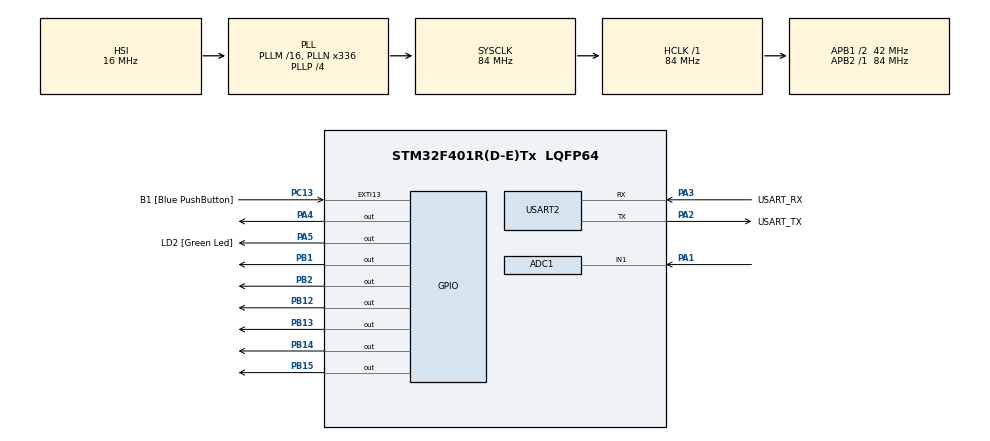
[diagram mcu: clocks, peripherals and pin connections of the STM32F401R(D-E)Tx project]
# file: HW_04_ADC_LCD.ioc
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ADC1.Channel-0\#ChannelRegularConversion=ADC_CHANNEL_1
ADC1.ExternalTrigConv=ADC_EXTERNALTRIGCONV_T2_TRGO
ADC1.InjNumberOfConversion=0
ADC1.NbrOfConversionFlag=1
ADC1.Rank-0\#ChannelRegularConversion=1
ADC1.SamplingTime-0\#ChannelRegularConversion=ADC_SAMPLETIME_480CYCLES
ADC1.master=1
Mcu.Family=STM32F4
Mcu.Name=STM32F401R(D-E)Tx
Mcu.Package=LQFP64
NVIC.ADC_IRQn=true\:0\:0\:false\:false\:true\:true\:true\:true
NVIC.PriorityGroup=NVIC_PRIORITYGROUP_0
PA1.Signal=SharedAnalog_PA1
PA13.GPIO_Label=TMS
PA13.Mode=Serial_Wire
PA13.Signal=SYS_JTMS-SWDIO
PA14.GPIO_Label=TCK
PA14.Mode=Serial_Wire
PA14.Signal=SYS_JTCK-SWCLK
PA2.GPIO_Label=USART_TX
PA2.GPIO_Mode=GPIO_MODE_AF_PP
PA2.GPIO_PuPd=GPIO_NOPULL
PA2.GPIO_Speed=GPIO_SPEED_FREQ_LOW
PA2.Mode=Asynchronous
PA2.Signal=USART2_TX
PA3.GPIO_Label=USART_RX
PA3.GPIO_Mode=GPIO_MODE_AF_PP
PA3.GPIO_PuPd=GPIO_NOPULL
PA3.GPIO_Speed=GPIO_SPEED_FREQ_LOW
PA3.Mode=Asynchronous
PA3.Signal=USART2_RX
PA4.Signal=GPIO_Output
PA5.GPIO_Label=LD2 [Green Led]
PA5.GPIO_Mode=GPIO_MODE_OUTPUT_PP
PA5.GPIO_PuPd=GPIO_NOPULL
PA5.GPIO_Speed=GPIO_SPEED_FREQ_LOW
PA5.Signal=GPIO_Output
PB1.Signal=GPIO_Output
PB12.Signal=GPIO_Output
PB13.Signal=GPIO_Output
PB14.Signal=GPIO_Output
PB15.Signal=GPIO_Output
PB2.Signal=GPIO_Output
PB3.GPIO_Label=SWO
PB3.Signal=SYS_JTDO-SWO
PC13-ANTI_TAMP.GPIO_Label=B1 [Blue PushButton]
PC13-ANTI_TAMP.GPIO_ModeDefaultEXTI=GPIO_MODE_IT_FALLING
PC13-ANTI_TAMP.GPIO_PuPd=GPIO_NOPULL
PC13-ANTI_TAMP.Signal=GPXTI13
PC14-OSC32_IN.Mode=LSE-External-Oscillator
PC14-OSC32_IN.Signal=RCC_OSC32_IN
PC15-OSC32_OUT.Mode=LSE-External-Oscillator
PC15-OSC32_OUT.Signal=RCC_OSC32_OUT
PH0\ -\ OSC_IN.Mode=HSE-External-Clock-Source
PH0\ -\ OSC_IN.Signal=RCC_OSC_IN
PH1\ -\ OSC_OUT.Mode=HSE-External-Clock-Source
PH1\ -\ OSC_OUT.Signal=RCC_OSC_OUT
ProjectManager.HeapSize=0x200
ProjectManager.StackSize=0x400
ProjectManager.TargetToolchain=STM32CubeIDE
RCC.48MHZClocksFreq_Value=48000000
RCC.AHBFreq_Value=84000000
RCC.APB1CLKDivider=RCC_HCLK_DIV2
RCC.APB1Freq_Value=42000000
RCC.APB1TimFreq_Value=84000000
RCC.APB2Freq_Value=84000000
RCC.APB2TimFreq_Value=84000000
RCC.CortexFreq_Value=84000000
RCC.HCLKFreq_Value=84000000
RCC.HSE_VALUE=8000000
RCC.HSI_VALUE=16000000
RCC.PLLN=336
RCC.PLLP=RCC_PLLP_DIV4
RCC.PLLQ=7
RCC.SYSCLKFreq_VALUE=84000000
RCC.SYSCLKSource=RCC_SYSCLKSOURCE_PLLCLK
RCC.VCOOutputFreq_Value=336000000
SH.SharedAnalog_PA1.0=GPIO_Analog
SH.SharedAnalog_PA1.1=ADC1_IN1,IN1
TIM2.Period=84000-1
TIM2.Prescaler=1000-1
TIM2.TIM_MasterOutputTrigger=TIM_TRGO_UPDATE
USART2.VirtualMode=VM_ASYNC
VP_TIM2_VS_ClockSourceINT.Mode=Internal
board=NUCLEO-F401RE

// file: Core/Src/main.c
/* USER CODE BEGIN Header */
/**
 ******************************************************************************
 * @file           : main.c
 * @brief          : Main program body
 ******************************************************************************
 * @attention
 *
 * Copyright (c) 2022 STMicroelectronics.
 * All rights reserved.
 *
 * This software is licensed under terms that can be found in the LICENSE file
 * in the root directory of this software component.
 * If no LICENSE file comes with this software, it is provided AS-IS.
 *
 ******************************************************************************
 */
/* USER CODE END Header */
#include "main.h"

/* USER CODE BEGIN Includes */
#include "PMDB16_LCD.h"
/* USER CODE END Includes */

/* USER CODE BEGIN PTD */
int completed = 0; // used to signal completed ADC conversion
/* USER CODE END PTD */

ADC_HandleTypeDef hadc1;

TIM_HandleTypeDef htim2;

UART_HandleTypeDef huart2;

void SystemClock_Config(void);
static void MX_GPIO_Init(void);
static void MX_USART2_UART_Init(void);
static void MX_ADC1_Init(void);
static void MX_TIM2_Init(void);

/* USER CODE BEGIN 0 */

// conversion from ADC callback
void HAL_ADC_ConvCpltCallback(ADC_HandleTypeDef *hadc) {
	HAL_TIM_Base_Stop(&htim2);
	if (completed == 0)
		completed = 1;
	HAL_TIM_Base_Start(&htim2);
}
/* USER CODE END 0 */

int main(void) {

	/* MCU Configuration--------------------------------------------------------*/

	/* Reset of all peripherals, Initializes the Flash interface and the Systick. */
	HAL_Init();

	/* USER CODE BEGIN Init */
	char string[64];
	/* USER CODE END Init */

	/* Configure the system clock */
	SystemClock_Config();

	/* Initialize all configured peripherals */
	MX_GPIO_Init();
	MX_USART2_UART_Init();
	MX_ADC1_Init();
	MX_TIM2_Init();
	/* USER CODE BEGIN 2 */

	lcd_initialize();
	lcd_backlight_ON();
	HAL_TIM_Base_Start(&htim2); // starts timer 2 for signaling rate of conversion
	HAL_ADC_Start_IT(&hadc1); // ADC conversion with interrupt routine

	/* USER CODE END 2 */

	/* Infinite loop */
	/* USER CODE BEGIN WHILE */
	while (1) {
		// only when the ADC conversion is completed
		if (completed == 1) {
			int conversion = HAL_ADC_GetValue(&hadc1);
			float voltage = conversion * 3.3 / 4096.0;
			snprintf(string, sizeof(string), "Voltage = %.3fV\n", voltage);

			// prints to LCD the progress bar (from 0 to 80)
			lcd_clear();
			lcd_println(string, 0);
			lcd_drawBar((int) conversion * 80.0 / 4096.0);

			completed = 0;
		}
		/* USER CODE END WHILE */

	}
}

void SystemClock_Config(void) {
	RCC_OscInitTypeDef RCC_OscInitStruct = { 0 };
	RCC_ClkInitTypeDef RCC_ClkInitStruct = { 0 };

	/** Configure the main internal regulator output voltage
	 */
	__HAL_RCC_PWR_CLK_ENABLE();
	__HAL_PWR_VOLTAGESCALING_CONFIG(PWR_REGULATOR_VOLTAGE_SCALE2);

	/** Initializes the RCC Oscillators according to the specified parameters
	 * in the RCC_OscInitTypeDef structure.
	 */
	RCC_OscInitStruct.OscillatorType = RCC_OSCILLATORTYPE_HSI;
	RCC_OscInitStruct.HSIState = RCC_HSI_ON;
	RCC_OscInitStruct.HSICalibrationValue = RCC_HSICALIBRATION_DEFAULT;
	RCC_OscInitStruct.PLL.PLLState = RCC_PLL_ON;
	RCC_OscInitStruct.PLL.PLLSource = RCC_PLLSOURCE_HSI;
	RCC_OscInitStruct.PLL.PLLM = 16;
	RCC_OscInitStruct.PLL.PLLN = 336;
	RCC_OscInitStruct.PLL.PLLP = RCC_PLLP_DIV4;
	RCC_OscInitStruct.PLL.PLLQ = 7;
	if (HAL_RCC_OscConfig(&RCC_OscInitStruct) != HAL_OK) {
		Error_Handler();
	}

	/** Initializes the CPU, AHB and APB buses clocks
	 */
	RCC_ClkInitStruct.ClockType = RCC_CLOCKTYPE_HCLK | RCC_CLOCKTYPE_SYSCLK | RCC_CLOCKTYPE_PCLK1 | RCC_CLOCKTYPE_PCLK2;
	RCC_ClkInitStruct.SYSCLKSource = RCC_SYSCLKSOURCE_PLLCLK;
	RCC_ClkInitStruct.AHBCLKDivider = RCC_SYSCLK_DIV1;
	RCC_ClkInitStruct.APB1CLKDivider = RCC_HCLK_DIV2;
	RCC_ClkInitStruct.APB2CLKDivider = RCC_HCLK_DIV1;

	if (HAL_RCC_ClockConfig(&RCC_ClkInitStruct, FLASH_LATENCY_2) != HAL_OK) {
		Error_Handler();
	}
}

static void MX_ADC1_Init(void) {

	ADC_ChannelConfTypeDef sConfig = { 0 };

	/** Configure the global features of the ADC (Clock, Resolution, Data Alignment and number of conversion)
	 */
	hadc1.Instance = ADC1;
	hadc1.Init.ClockPrescaler = ADC_CLOCK_SYNC_PCLK_DIV4;
	hadc1.Init.Resolution = ADC_RESOLUTION_12B;
	hadc1.Init.ScanConvMode = DISABLE;
	hadc1.Init.ContinuousConvMode = DISABLE;
	hadc1.Init.DiscontinuousConvMode = DISABLE;
	hadc1.Init.ExternalTrigConvEdge = ADC_EXTERNALTRIGCONVEDGE_RISING;
	hadc1.Init.ExternalTrigConv = ADC_EXTERNALTRIGCONV_T2_TRGO;
	hadc1.Init.DataAlign = ADC_DATAALIGN_RIGHT;
	hadc1.Init.NbrOfConversion = 1;
	hadc1.Init.DMAContinuousRequests = DISABLE;
	hadc1.Init.EOCSelection = ADC_EOC_SINGLE_CONV;
	if (HAL_ADC_Init(&hadc1) != HAL_OK) {
		Error_Handler();
	}

	/** Configure for the selected ADC regular channel its corresponding rank in the sequencer and its sample time.
	 */
	sConfig.Channel = ADC_CHANNEL_1;
	sConfig.Rank = 1;
	sConfig.SamplingTime = ADC_SAMPLETIME_480CYCLES;
	if (HAL_ADC_ConfigChannel(&hadc1, &sConfig) != HAL_OK) {
		Error_Handler();
	}

}

static void MX_TIM2_Init(void) {

	TIM_ClockConfigTypeDef sClockSourceConfig = { 0 };
	TIM_MasterConfigTypeDef sMasterConfig = { 0 };

	htim2.Instance = TIM2;
	htim2.Init.Prescaler = 1000 - 1;
	htim2.Init.CounterMode = TIM_COUNTERMODE_UP;
	htim2.Init.Period = 84000 - 1;
	htim2.Init.ClockDivision = TIM_CLOCKDIVISION_DIV1;
	htim2.Init.AutoReloadPreload = TIM_AUTORELOAD_PRELOAD_DISABLE;
	if (HAL_TIM_Base_Init(&htim2) != HAL_OK) {
		Error_Handler();
	}
	sClockSourceConfig.ClockSource = TIM_CLOCKSOURCE_INTERNAL;
	if (HAL_TIM_ConfigClockSource(&htim2, &sClockSourceConfig) != HAL_OK) {
		Error_Handler();
	}
	sMasterConfig.MasterOutputTrigger = TIM_TRGO_UPDATE;
	sMasterConfig.MasterSlaveMode = TIM_MASTERSLAVEMODE_DISABLE;
	if (HAL_TIMEx_MasterConfigSynchronization(&htim2, &sMasterConfig) != HAL_OK) {
		Error_Handler();
	}

}

static void MX_USART2_UART_Init(void) {

	huart2.Instance = USART2;
	huart2.Init.BaudRate = 115200;
	huart2.Init.WordLength = UART_WORDLENGTH_8B;
	huart2.Init.StopBits = UART_STOPBITS_1;
	huart2.Init.Parity = UART_PARITY_NONE;
	huart2.Init.Mode = UART_MODE_TX_RX;
	huart2.Init.HwFlowCtl = UART_HWCONTROL_NONE;
	huart2.Init.OverSampling = UART_OVERSAMPLING_16;
	if (HAL_UART_Init(&huart2) != HAL_OK) {
		Error_Handler();
	}

}

static void MX_GPIO_Init(void) {
	GPIO_InitTypeDef GPIO_InitStruct = { 0 };

	/* GPIO Ports Clock Enable */
	__HAL_RCC_GPIOC_CLK_ENABLE();
	__HAL_RCC_GPIOH_CLK_ENABLE();
	__HAL_RCC_GPIOA_CLK_ENABLE();
	__HAL_RCC_GPIOB_CLK_ENABLE();

	/*Configure GPIO pin Output Level */
	HAL_GPIO_WritePin(GPIOA, GPIO_PIN_4 | LD2_Pin, GPIO_PIN_RESET);

	/*Configure GPIO pin Output Level */
	HAL_GPIO_WritePin(GPIOB, GPIO_PIN_1 | GPIO_PIN_2 | GPIO_PIN_12 | GPIO_PIN_13 | GPIO_PIN_14 | GPIO_PIN_15, GPIO_PIN_RESET);

	/*Configure GPIO pin : B1_Pin */
	GPIO_InitStruct.Pin = B1_Pin;
	GPIO_InitStruct.Mode = GPIO_MODE_IT_FALLING;
	GPIO_InitStruct.Pull = GPIO_NOPULL;
	HAL_GPIO_Init(B1_GPIO_Port, &GPIO_InitStruct);

	/*Configure GPIO pins : PA4 LD2_Pin */
	GPIO_InitStruct.Pin = GPIO_PIN_4 | LD2_Pin;
	GPIO_InitStruct.Mode = GPIO_MODE_OUTPUT_PP;
	GPIO_InitStruct.Pull = GPIO_NOPULL;
	GPIO_InitStruct.Speed = GPIO_SPEED_FREQ_LOW;
	HAL_GPIO_Init(GPIOA, &GPIO_InitStruct);

	/*Configure GPIO pins : PB1 PB2 PB12 PB13
	 PB14 PB15 */
	GPIO_InitStruct.Pin = GPIO_PIN_1 | GPIO_PIN_2 | GPIO_PIN_12 | GPIO_PIN_13 | GPIO_PIN_14 | GPIO_PIN_15;
	GPIO_InitStruct.Mode = GPIO_MODE_OUTPUT_PP;
	GPIO_InitStruct.Pull = GPIO_NOPULL;
	GPIO_InitStruct.Speed = GPIO_SPEED_FREQ_LOW;
	HAL_GPIO_Init(GPIOB, &GPIO_InitStruct);

}

void Error_Handler(void) {
	__disable_irq();
	while (1) {
	}
}
